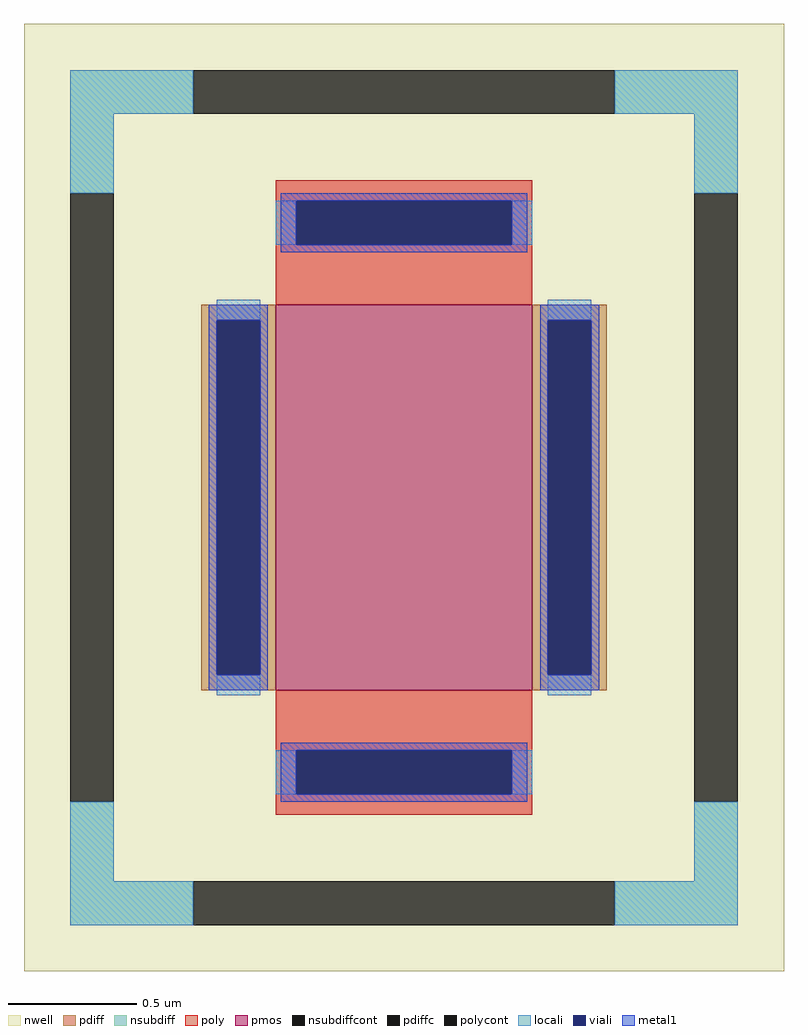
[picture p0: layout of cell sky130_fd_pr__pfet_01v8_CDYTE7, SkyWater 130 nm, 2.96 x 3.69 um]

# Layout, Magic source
magic
tech sky130A
magscale 1 2
<< nwell >>
rect -296 -369 296 369
<< pmos >>
rect -100 -150 100 150
<< pdiff >>
rect -158 138 -100 150
rect -158 -138 -146 138
rect -112 -138 -100 138
rect -158 -150 -100 -138
rect 100 138 158 150
rect 100 -138 112 138
rect 146 -138 158 138
rect 100 -150 158 -138
<< pdiffc >>
rect -146 -138 -112 138
rect 112 -138 146 138
<< nsubdiff >>
rect -260 299 -164 333
rect 164 299 260 333
rect -260 237 -226 299
rect 226 237 260 299
rect -260 -299 -226 -237
rect 226 -299 260 -237
rect -260 -333 -164 -299
rect 164 -333 260 -299
<< nsubdiffcont >>
rect -164 299 164 333
rect -260 -237 -226 237
rect 226 -237 260 237
rect -164 -333 164 -299
<< poly >>
rect -100 231 100 247
rect -100 197 -84 231
rect 84 197 100 231
rect -100 150 100 197
rect -100 -197 100 -150
rect -100 -231 -84 -197
rect 84 -231 100 -197
rect -100 -247 100 -231
<< polycont >>
rect -84 197 84 231
rect -84 -231 84 -197
<< locali >>
rect -260 299 -164 333
rect 164 299 260 333
rect -260 237 -226 299
rect 226 237 260 299
rect -100 197 -84 231
rect 84 197 100 231
rect -146 138 -112 154
rect -146 -154 -112 -138
rect 112 138 146 154
rect 112 -154 146 -138
rect -100 -231 -84 -197
rect 84 -231 100 -197
rect -260 -299 -226 -237
rect 226 -299 260 -237
rect -260 -333 -164 -299
rect 164 -333 260 -299
<< viali >>
rect -84 197 84 231
rect -146 -138 -112 138
rect 112 -138 146 138
rect -84 -231 84 -197
<< metal1 >>
rect -96 231 96 237
rect -96 197 -84 231
rect 84 197 96 231
rect -96 191 96 197
rect -152 138 -106 150
rect -152 -138 -146 138
rect -112 -138 -106 138
rect -152 -150 -106 -138
rect 106 138 152 150
rect 106 -138 112 138
rect 146 -138 152 138
rect 106 -150 152 -138
rect -96 -197 96 -191
rect -96 -231 -84 -197
rect 84 -231 96 -197
rect -96 -237 96 -231
<< properties >>
string FIXED_BBOX -243 -316 243 316
string gencell sky130_fd_pr__pfet_01v8
string library sky130
string parameters w 1.5 l 1 m 1 nf 1 diffcov 100 polycov 100 guard 1 glc 1 grc 1 gtc 1 gbc 1 tbcov 100 rlcov 100 topc 1 botc 1 poverlap 0 doverlap 1 lmin 0.15 wmin 0.42 compatible {sky130_fd_pr__pfet_01v8  sky130_fd_pr__pfet_01v8_lvt sky130_fd_pr__pfet_01v8_hvt  sky130_fd_pr__pfet_g5v0d10v5} full_metal 1 viasrc 100 viadrn 100 viagate 100 viagb 0 viagr 0 viagl 0 viagt 0
<< end >>
